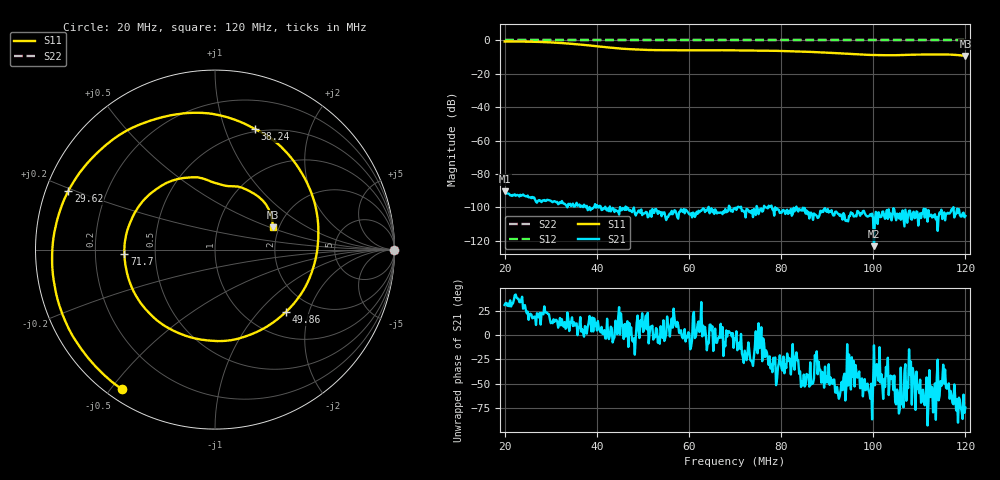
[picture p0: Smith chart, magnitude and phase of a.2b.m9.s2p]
! Anritsu VNA Master:  Model: MS2036C/10/77
! SN:  1601066
! /bd0/18may09/252.ns.m9.s2p
! Existing Calibration Information:
! TYPE:  Current Settings,  Active Cal Settings
! TIME:  05/09/2018 09:11:34 AM,  05/09/2018 09:02:47 AM
! INTERNAL TEMP:  41.5 C,  40.3 C
! # POINTS:  500,  500
! START FREQ:  20.000 MHz,  20.000 MHz
! STOP FREQ:  120.000 MHz,  120.000 MHz
! SOURCE POWER:  High,  High
! IFBW:  50 Hz,  50 Hz
! AVG FACTOR:  1 ,  1
! REF PLANE 1:  0 mm,  0 mm
! REF PLANE 2:  0 mm,  0 mm
! CAL TYPE:  Full S11,  Full S11
! CAL METHOD:  SOLT,  SOLT
! CAL LINE TYPE:  Coax,  Coax
! DUT PORT 1:  K-Conn(F),  K-Conn(F)
! DUT PORT 2:  K-Conn(F),  K-Conn(F)
! CAL STATUS:  OK: Accuracy High,  --
# GHZ S DB R 50.0
! FREQ.GHZ  S11DB  S11A  S21DB  S21A  S12DB  S12A  S22DB  S22A
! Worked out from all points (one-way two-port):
!   500 points, 20 MHz to 120 MHz, reference 50 ohm
!   highest |S21| = -90.40 dB at 20 MHz (marker M1); lowest = -123.3 dB at 100.2 MHz (marker M2)
!   lowest |S11| = -9.2 dB at 120 MHz (marker M3), VSWR 2.05, Z = 92.5 + j26.3 ohm
!   |S11| at or under -10 dB: nowhere
!   |S22| runs from 0.0 to 0.0 dB; largest |S21 - S12| = 1
!   S11 on the Smith chart (normalised r, x): 20 MHz: 0.04, -0.53; 29.62 MHz: 0.07, +0.19; 38.24 MHz: 0.47, +1.27; 49.86 MHz: 1.48, -1.43; 71.7 MHz: 0.33, -0.02; 120 MHz: 1.85, +0.53
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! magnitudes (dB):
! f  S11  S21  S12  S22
! 20 MHz  -0.6  -90.4  0.0  0.0
! 25.01 MHz  -0.7  -93.0  0.0  0.0
! 29.62 MHz  -1.1  -95.7  0.0  0.0
! 32.83 MHz  -1.6  -97.8  0.0  0.0
! 36.83 MHz  -2.5  -99.2  0.0  0.0
! 38.24 MHz  -3.0  -101.0  0.0  0.0
! 44.85 MHz  -4.8  -104.3  0.0  0.0
! 49.86 MHz  -5.6  -104.7  0.0  0.0
! 53.47 MHz  -5.8  -102.3  0.0  0.0
! 70.1 MHz  -5.9  -100.3  0.0  0.0
! 71.7 MHz  -5.9  -101.8  0.0  0.0
! 79.92 MHz  -6.3  -103.0  0.0  0.0
! 86.73 MHz  -6.9  -104.5  0.0  0.0
! 92.75 MHz  -7.7  -105.1  0.0  0.0
! 97.35 MHz  -8.5  -103.5  0.0  0.0
! 100.2 MHz  -8.7  -123.3  0.0  0.0
! 103.4 MHz  -8.9  -101.2  0.0  0.0
! 105 MHz  -8.8  -107.7  0.0  0.0
! 109 MHz  -8.5  -106.5  0.0  0.0
! 115 MHz  -8.4  -107.0  0.0  0.0
! 117.6 MHz  -8.6  -106.0  0.0  0.0
! 120 MHz  -9.2  -105.2  0.0  0.0
